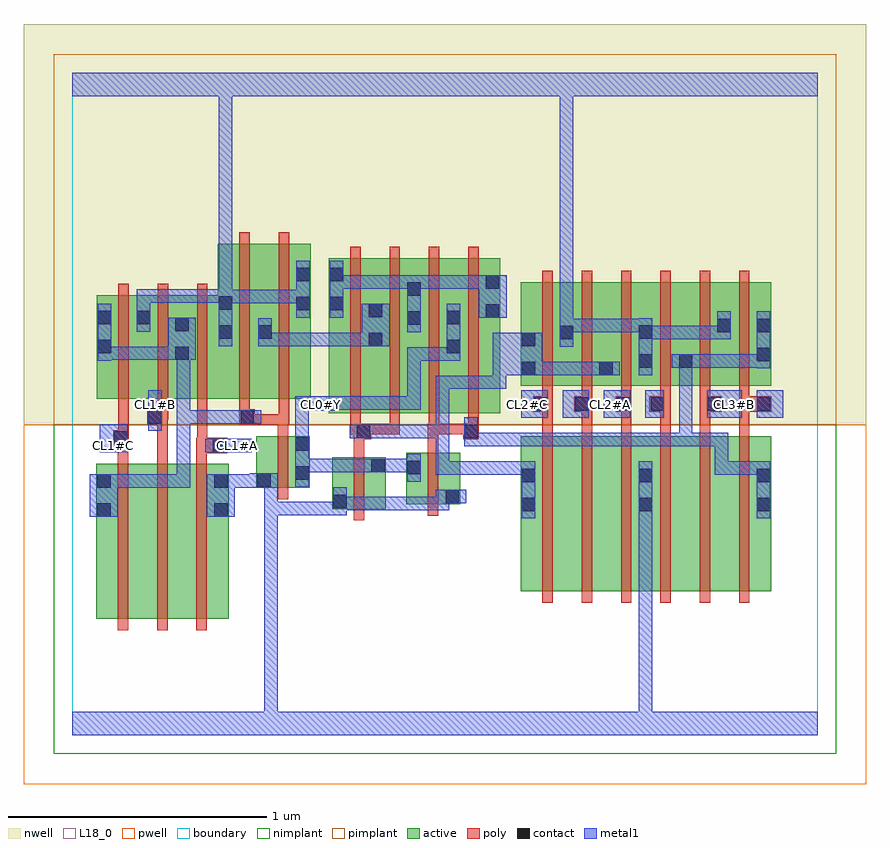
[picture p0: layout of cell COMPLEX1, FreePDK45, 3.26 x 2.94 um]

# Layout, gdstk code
import gdstk
lib = gdstk.Library(unit=1e-6, precision=1e-09)
def R(c, l, rs):  # rectangles x0, y0, x1, y1
    for r in rs: c.add(gdstk.rectangle(r[:2], r[2:], *l))
def A(c, l, x, y, w, h, nx, ny, dx, dy):  # array of equal rectangles
    R(c, l, [(x+i*dx, y+j*dy, x+i*dx+w, y+j*dy+h) for i in range(nx) for j in range(ny)])
active = (1, 0)
pwell = (2, 0)
nwell = (3, 0)
nimplant = (4, 0)
pimplant = (5, 0)
poly = (9, 0)
contact = (10, 0)
metal1 = (11, 0)
L18_0 = (18, 0)
boundary = (235, 0)

complex1 = lib.new_cell('COMPLEX1')
A(complex1, active, 1.29, 1.244, 0.06, 0.6, 3, 1, 0.152, 0)
A(complex1, active, 1.88, 1.35, 0.06, 0.294, 3, 1, 0.152, 0)
R(complex1, active, [(0.092,0.45,0.272,1.05), (0.272,0.45,0.424,1.05), (0.424,0.45,0.604,1.05), (0.092,0.556,0.152,1.05), (0.544,0.556,0.604,1.05), (1.732,0.556,1.792,1.156), (1.732,0.556,1.912,1.156), (1.912,0.556,2.064,1.156), (2.064,0.556,2.244,1.156), (2.184,0.556,2.368,1.156), (2.184,0.556,2.244,1.034), (2.368,0.556,2.52,1.156), (2.52,0.556,2.7,1.156), (2.64,0.556,2.7,1.156), (1.004,0.874,1.064,1.074), (1.004,0.874,1.212,1.074), (1.29,0.892,1.35,1.092), (1.29,0.892,1.498,1.092), (1.438,0.892,1.498,1.092), (1.152,0.896,1.212,1.074), (0.71,0.956,0.77,1.156), (0.71,0.956,0.918,1.156), (0.858,0.956,0.918,1.156), (0.99,1.244,1.05,1.844), (0.99,1.244,1.202,1.844), (1.142,1.244,1.202,1.844), (1.142,1.244,1.35,1.844), (1.29,1.244,1.502,1.844), (1.442,1.244,1.654,1.844), (0.094,1.3,0.306,1.7), (0.094,1.3,0.154,1.7), (0.246,1.3,0.454,1.7), (0.394,1.3,0.622,1.7), (0.394,1.3,0.454,1.7), (0.562,1.3,0.774,1.9), (0.714,1.3,0.922,1.9), (0.862,1.3,0.922,1.9), (0.246,1.31,0.306,1.7), (0.562,1.338,0.622,1.9), (0.714,1.338,0.774,1.9), (1.732,1.35,1.792,1.644), (1.732,1.35,1.94,1.75), (1.88,1.35,2.092,1.75), (2.032,1.35,2.244,1.75), (2.184,1.35,2.4,1.75), (2.34,1.35,2.4,1.644), (2.34,1.35,2.548,1.75), (2.488,1.35,2.548,1.644), (2.488,1.35,2.7,1.75), (2.64,1.35,2.7,1.644)])
R(complex1, pwell, [(-0.188,-0.188,3.068,1.2)])
R(complex1, nwell, [(-0.188,1.2,3.068,2.748)])
R(complex1, nimplant, [(-0.072,-0.072,2.952,1.2)])
R(complex1, pimplant, [(-0.072,1.2,2.952,2.632)])
A(complex1, poly, 0.176, 0.406, 0.04, 0.688, 3, 1, 0.152, 0)
A(complex1, poly, 1.816, 0.512, 0.04, 0.688, 6, 1, 0.152, 0)
A(complex1, poly, 1.816, 1.16, 0.04, 0.13, 6, 1, 0.152, 0)
A(complex1, poly, 1.074, 1.164, 0.04, 0.076, 4, 1, 0.152, 0)
A(complex1, poly, 1.074, 1.2, 0.04, 0.688, 4, 1, 0.152, 0)
A(complex1, poly, 0.178, 1.256, 0.04, 0.488, 3, 1, 0.152, 0)
A(complex1, poly, 1.816, 1.27, 0.04, 0.076, 6, 1, 0.152, 0)
A(complex1, poly, 1.816, 1.306, 0.04, 0.488, 6, 1, 0.152, 0)
R(complex1, poly, [(1.088,0.83,1.128,1.118), (1.374,0.848,1.414,1.136), (0.794,0.912,0.834,1.2), (0.176,1.054,0.216,1.158), (0.328,1.054,0.368,1.24), (0.48,1.054,0.52,1.13), (1.088,1.078,1.128,1.184), (0.48,1.09,0.598,1.15), (1.374,1.096,1.414,1.204), (0.482,1.11,0.522,1.15), (0.482,1.11,0.522,1.15), (0.482,1.11,0.522,1.296), (0.158,1.118,0.218,1.178), (0.178,1.138,0.218,1.178), (0.178,1.138,0.218,1.178), (0.178,1.138,0.218,1.296), (1.088,1.144,1.156,1.204), (1.51,1.144,1.57,1.204), (0.794,1.16,0.834,1.24), (1.074,1.164,1.128,1.204), (1.088,1.164,1.128,1.204), (1.088,1.164,1.128,1.204), (1.088,1.164,1.128,1.204), (1.088,1.164,1.266,1.204), (1.226,1.164,1.266,1.204), (1.374,1.164,1.414,1.204), (1.374,1.164,1.414,1.204), (1.374,1.164,1.418,1.204), (1.378,1.164,1.418,1.204), (1.378,1.164,1.418,1.204), (1.378,1.164,1.57,1.204), (1.53,1.164,1.57,1.204), (1.53,1.164,1.57,1.204), (0.29,1.2,0.368,1.26), (0.646,1.2,0.706,1.26), (0.666,1.2,0.834,1.24), (0.794,1.2,0.834,1.24), (0.794,1.2,0.834,1.24), (0.794,1.2,0.834,1.24), (0.794,1.2,0.834,1.24), (0.794,1.2,0.838,1.24), (0.798,1.2,0.838,1.296), (0.328,1.22,0.368,1.26), (0.328,1.22,0.37,1.26), (0.33,1.22,0.37,1.296), (0.646,1.22,0.686,1.296), (1.78,1.25,1.856,1.31), (1.816,1.25,1.856,1.29), (1.816,1.25,1.856,1.29), (1.94,1.25,2.008,1.31), (1.968,1.25,2.008,1.29), (1.968,1.25,2.008,1.29), (2.1,1.25,2.16,1.31), (2.12,1.25,2.16,1.29), (2.12,1.25,2.16,1.29), (2.23,1.25,2.312,1.31), (2.272,1.25,2.312,1.29), (2.272,1.25,2.312,1.29), (2.424,1.25,2.464,1.29), (2.424,1.25,2.464,1.29), (2.424,1.25,2.51,1.31), (2.576,1.25,2.616,1.29), (2.576,1.25,2.616,1.29), (2.576,1.25,2.7,1.31), (0.646,1.256,0.686,1.944), (0.798,1.256,0.838,1.944)])
A(complex1, contact, 1.784, 1.254, 0.052, 0.052, 3, 1, 0.16, 0)
R(complex1, contact, [(0.096,0.844,0.148,0.896), (0.548,0.844,0.6,0.896), (1.736,0.866,1.788,0.918), (2.188,0.866,2.24,0.918), (2.644,0.866,2.696,0.918), (1.008,0.878,1.06,0.93), (1.442,0.896,1.494,0.948), (0.096,0.956,0.148,1.008), (0.548,0.956,0.6,1.008), (0.714,0.96,0.766,1.012), (1.736,0.978,1.788,1.03), (2.188,0.978,2.24,1.03), (2.644,0.978,2.696,1.03), (0.862,0.988,0.914,1.04), (1.294,1.008,1.346,1.06), (1.156,1.016,1.208,1.068), (0.542,1.094,0.594,1.146), (0.862,1.1,0.914,1.152), (0.162,1.122,0.214,1.174), (1.1,1.148,1.152,1.2), (1.514,1.148,1.566,1.2), (0.294,1.204,0.346,1.256), (0.65,1.204,0.702,1.256), (2.234,1.254,2.286,1.306), (2.454,1.254,2.506,1.306), (2.644,1.254,2.696,1.306), (1.736,1.392,1.788,1.444), (2.036,1.392,2.088,1.444), (2.188,1.42,2.24,1.472), (2.344,1.42,2.396,1.472), (2.644,1.446,2.696,1.498), (0.398,1.45,0.45,1.502), (0.098,1.476,0.15,1.528), (1.446,1.476,1.498,1.528), (1.146,1.504,1.198,1.556), (1.736,1.504,1.788,1.556), (1.884,1.53,1.936,1.582), (0.566,1.532,0.618,1.584), (0.718,1.532,0.77,1.584), (2.188,1.532,2.24,1.584), (2.492,1.558,2.544,1.61), (2.644,1.558,2.696,1.61), (0.398,1.562,0.45,1.614), (1.294,1.586,1.346,1.638), (0.098,1.588,0.15,1.64), (0.25,1.588,0.302,1.64), (1.446,1.588,1.498,1.64), (1.598,1.614,1.65,1.666), (1.146,1.616,1.198,1.668), (0.866,1.642,0.918,1.694), (0.994,1.642,1.046,1.694), (0.566,1.644,0.618,1.696), (1.294,1.698,1.346,1.75), (1.598,1.726,1.65,1.778), (0.866,1.754,0.918,1.806), (0.994,1.754,1.046,1.806)])
A(complex1, metal1, 1.734, 1.226, 0.102, 0.108, 3, 1, 0.16, 0)
A(complex1, metal1, 1.404, 1.338, 0.052, 0.052, 3, 1, 0.11, 0)
A(complex1, metal1, 1.184, 1.726, 0.162, 0.052, 3, 1, 0.11, 0)
R(complex1, metal1, [(0,0,2.88,0.092), (0.742,0.04,0.794,0.092), (0.742,0.04,0.794,0.092), (0.742,0.04,0.794,0.092), (0.742,0.04,0.794,0.092), (0.742,0.04,0.794,0.092), (0.742,0.04,0.794,0.092), (0.742,0.04,0.794,0.092), (0.742,0.04,0.794,0.092), (0.742,0.04,0.794,0.092), (0.742,0.04,0.794,0.092), (0.742,0.04,0.794,0.092), (0.742,0.04,0.794,0.092), (0.742,0.04,0.794,0.092), (0.742,0.04,0.794,0.092), (0.742,0.04,0.794,0.092), (0.742,0.04,0.794,0.092), (0.742,0.04,0.794,0.902), (2.188,0.04,2.24,0.092), (2.188,0.04,2.24,0.092), (2.188,0.04,2.24,0.092), (2.188,0.04,2.24,0.092), (2.188,0.04,2.24,0.092), (2.188,0.04,2.24,0.092), (2.188,0.04,2.24,0.092), (2.188,0.04,2.24,0.092), (2.188,0.04,2.24,0.89), (1.736,0.838,1.788,1.058), (2.188,0.838,2.24,1.058), (2.644,0.838,2.696,1.058), (0.068,0.844,0.176,1.008), (0.52,0.844,0.628,1.008), (0.742,0.85,0.794,0.902), (0.742,0.85,0.904,0.902), (0.742,0.85,0.794,1.012), (0.852,0.85,0.904,0.902), (0.852,0.85,0.904,0.902), (0.852,0.85,0.904,0.902), (0.852,0.85,1.06,0.902), (1.008,0.85,1.06,0.958), (1.008,0.87,1.17,0.922), (1.118,0.87,1.17,0.922), (1.118,0.87,1.17,0.922), (1.118,0.87,1.17,0.922), (1.118,0.87,1.346,0.922), (1.294,0.87,1.346,0.922), (1.294,0.87,1.346,0.922), (1.294,0.87,1.346,0.922), (1.294,0.87,1.456,0.922), (1.404,0.87,1.456,0.948), (1.404,0.896,1.466,0.948), (1.414,0.896,1.522,0.948), (0.124,0.956,0.176,1.008), (0.124,0.956,0.176,1.008), (0.124,0.956,0.286,1.008), (0.234,0.956,0.286,1.008), (0.234,0.956,0.286,1.008), (0.234,0.956,0.286,1.008), (0.234,0.956,0.456,1.008), (0.404,0.956,0.456,1.008), (0.404,0.956,0.456,1.256), (0.576,0.956,0.738,1.008), (0.686,0.956,0.738,1.012), (0.686,0.96,0.738,1.012), (0.686,0.96,0.794,1.012), (0.862,0.96,0.914,1.18), (1.294,0.98,1.346,1.088), (1.404,1.006,1.456,1.058), (1.404,1.006,1.566,1.058), (1.404,1.006,1.456,1.2), (1.514,1.006,1.566,1.058), (1.514,1.006,1.566,1.058), (1.514,1.006,1.566,1.058), (1.514,1.006,1.788,1.058), (2.482,1.006,2.534,1.058), (2.482,1.006,2.696,1.058), (2.482,1.006,2.534,1.168), (2.644,1.006,2.696,1.058), (2.644,1.006,2.696,1.058), (0.862,1.016,1.014,1.068), (0.962,1.016,1.014,1.068), (0.962,1.016,1.18,1.068), (1.128,1.016,1.18,1.068), (1.128,1.016,1.18,1.068), (1.128,1.016,1.236,1.068), (1.184,1.016,1.346,1.068), (1.294,1.016,1.346,1.068), (1.294,1.016,1.346,1.068), (0.106,1.094,0.214,1.202), (0.514,1.094,0.694,1.146), (1.514,1.116,1.816,1.168), (1.514,1.116,1.566,1.172), (1.764,1.116,1.816,1.168), (1.764,1.116,1.816,1.168), (1.764,1.116,1.816,1.168), (1.764,1.116,1.926,1.168), (1.874,1.116,1.926,1.168), (1.874,1.116,1.926,1.168), (1.874,1.116,1.926,1.168), (1.874,1.116,2.046,1.168), (1.994,1.116,2.046,1.168), (1.994,1.116,2.156,1.168), (2.104,1.116,2.156,1.168), (2.104,1.116,2.156,1.168), (2.104,1.116,2.156,1.168), (2.104,1.116,2.396,1.168), (2.344,1.116,2.396,1.168), (2.344,1.116,2.396,1.168), (2.344,1.116,2.396,1.168), (2.344,1.116,2.534,1.168), (2.344,1.116,2.396,1.472), (2.482,1.116,2.534,1.168), (2.482,1.116,2.534,1.168), (2.482,1.116,2.534,1.168), (1.514,1.12,1.566,1.172), (1.514,1.12,1.566,1.228), (0.862,1.128,0.914,1.306), (1.072,1.148,1.18,1.2), (1.128,1.148,1.18,1.2), (1.128,1.148,1.18,1.2), (1.128,1.148,1.346,1.2), (1.294,1.148,1.346,1.2), (1.294,1.148,1.346,1.2), (1.294,1.148,1.346,1.2), (1.294,1.148,1.456,1.2), (1.404,1.148,1.456,1.2), (1.404,1.148,1.456,1.2), (1.404,1.148,1.456,1.2), (1.404,1.148,1.456,1.39), (0.294,1.176,0.346,1.334), (0.404,1.204,0.456,1.256), (0.404,1.204,0.456,1.256), (0.404,1.204,0.456,1.256), (0.404,1.204,0.564,1.256), (0.404,1.204,0.456,1.502), (0.512,1.204,0.564,1.256), (0.512,1.204,0.578,1.256), (0.526,1.204,0.578,1.256), (0.526,1.204,0.674,1.256), (0.622,1.204,0.73,1.256), (2.214,1.226,2.286,1.334), (2.454,1.226,2.586,1.334), (2.644,1.226,2.746,1.334), (0.862,1.254,1.014,1.31), (0.962,1.258,1.014,1.31), (0.962,1.258,1.014,1.31), (0.962,1.258,1.014,1.31), (0.962,1.258,1.014,1.31), (0.962,1.258,1.17,1.31), (1.118,1.258,1.17,1.31), (1.118,1.258,1.17,1.31), (1.118,1.258,1.17,1.31), (1.118,1.258,1.346,1.31), (1.294,1.258,1.346,1.31), (1.294,1.258,1.346,1.31), (1.294,1.258,1.346,1.31), (1.294,1.258,1.346,1.5), (1.404,1.338,1.566,1.39), (1.514,1.338,1.676,1.39), (1.624,1.338,1.676,1.39), (1.624,1.338,1.676,1.39), (1.624,1.338,1.676,1.444), (1.624,1.392,1.816,1.556), (1.764,1.392,1.816,1.444), (1.764,1.392,1.816,1.444), (1.764,1.392,1.926,1.444), (1.874,1.392,1.926,1.444), (1.874,1.392,1.926,1.444), (1.874,1.392,1.926,1.444), (1.874,1.392,2.06,1.444), (2.008,1.392,2.116,1.444), (2.188,1.392,2.24,1.612), (2.644,1.418,2.696,1.638), (2.316,1.42,2.424,1.472), (2.344,1.42,2.396,1.472), (2.344,1.42,2.396,1.472), (2.372,1.42,2.586,1.472), (2.534,1.42,2.586,1.472), (2.534,1.42,2.586,1.472), (2.534,1.42,2.586,1.472), (2.534,1.42,2.696,1.472), (2.644,1.42,2.696,1.472), (2.644,1.42,2.696,1.472), (0.098,1.448,0.15,1.668), (1.294,1.448,1.346,1.5), (1.294,1.448,1.456,1.5), (1.404,1.448,1.456,1.5), (1.404,1.448,1.498,1.5), (1.446,1.448,1.498,1.668), (0.098,1.45,0.15,1.502), (0.098,1.45,0.15,1.502), (0.098,1.45,0.312,1.502), (0.26,1.45,0.312,1.502), (0.26,1.45,0.312,1.502), (0.26,1.45,0.312,1.502), (0.26,1.45,0.422,1.502), (0.37,1.45,0.478,1.614), (1.884,1.502,1.936,1.61), (0.566,1.504,0.618,1.724), (0.718,1.504,0.77,1.612), (0.718,1.504,0.848,1.556), (0.796,1.504,0.848,1.556), (0.796,1.504,1.014,1.556), (0.962,1.504,1.014,1.556), (0.962,1.504,1.014,1.556), (0.962,1.504,1.014,1.556), (0.962,1.504,1.17,1.556), (1.118,1.504,1.17,1.556), (1.118,1.504,1.17,1.556), (1.118,1.504,1.226,1.668), (2.188,1.53,2.35,1.582), (2.298,1.53,2.35,1.582), (2.298,1.53,2.35,1.582), (2.298,1.53,2.35,1.582), (2.298,1.53,2.544,1.582), (2.492,1.53,2.544,1.582), (2.492,1.53,2.544,1.582), (2.492,1.53,2.544,1.638), (1.294,1.558,1.346,1.778), (1.884,1.558,1.936,1.61), (1.884,1.558,1.936,1.61), (1.884,1.558,2.046,1.61), (1.884,1.558,1.936,2.52), (1.994,1.558,2.046,1.61), (1.994,1.558,2.046,1.61), (1.994,1.558,2.046,1.61), (1.994,1.558,2.24,1.61), (0.25,1.56,0.302,1.668), (0.866,1.614,0.918,1.834), (0.994,1.614,1.046,1.834), (1.57,1.614,1.678,1.778), (0.25,1.616,0.302,1.668), (0.25,1.616,0.302,1.668), (0.25,1.616,0.302,1.724), (0.566,1.67,0.738,1.722), (0.686,1.67,0.738,1.722), (0.686,1.67,0.738,1.722), (0.686,1.67,0.738,1.722), (0.686,1.67,0.904,1.722), (0.852,1.67,0.904,1.722), (0.852,1.67,0.918,1.722), (0.25,1.672,0.302,1.724), (0.25,1.672,0.302,1.724), (0.25,1.672,0.302,1.724), (0.25,1.672,0.456,1.724), (0.404,1.672,0.456,1.724), (0.404,1.672,0.456,1.724), (0.404,1.672,0.456,1.724), (0.404,1.672,0.618,1.724), (0.566,1.672,0.618,2.52), (0.994,1.726,1.236,1.778), (1.184,1.726,1.236,1.778), (1.184,1.726,1.236,1.778), (1.184,1.726,1.236,1.778), (1.294,1.726,1.346,1.778), (1.294,1.726,1.346,1.778), (1.404,1.726,1.456,1.778), (1.404,1.726,1.456,1.778), (1.404,1.726,1.456,1.778), (1.514,1.726,1.566,1.778), (1.514,1.726,1.622,1.778), (0,2.468,2.88,2.56), (0.566,2.468,0.618,2.52), (0.566,2.468,0.618,2.52), (0.566,2.468,0.618,2.52), (0.566,2.468,0.618,2.52), (0.566,2.468,0.618,2.52), (0.566,2.468,0.618,2.52), (0.566,2.468,0.618,2.52), (0.566,2.468,0.618,2.52), (0.566,2.468,0.618,2.52), (0.566,2.468,0.618,2.52), (0.566,2.468,0.618,2.52), (0.566,2.468,0.618,2.52), (1.884,2.468,1.936,2.52), (1.884,2.468,1.936,2.52), (1.884,2.468,1.936,2.52), (1.884,2.468,1.936,2.52), (1.884,2.468,1.936,2.52), (1.884,2.468,1.936,2.52), (1.884,2.468,1.936,2.52), (1.884,2.468,1.936,2.52), (1.884,2.468,1.936,2.52), (1.884,2.468,1.936,2.52), (1.884,2.468,1.936,2.52), (1.884,2.468,1.936,2.52), (1.884,2.468,1.936,2.52), (1.884,2.468,1.936,2.52), (1.884,2.468,1.936,2.52), (1.884,2.468,1.936,2.52)])
A(complex1, L18_0, 1.734, 1.226, 0.102, 0.108, 3, 1, 0.16, 0)
A(complex1, L18_0, 1.734, 1.254, 0.052, 0.052, 4, 1, 0.16, 0)
R(complex1, L18_0, [(0,0,2.88,0.092), (0.742,0.04,0.794,0.092), (0.742,0.04,0.794,0.092), (0.742,0.04,0.794,0.092), (0.742,0.04,0.794,0.092), (0.742,0.04,0.794,0.092), (0.742,0.04,0.794,0.092), (0.742,0.04,0.794,0.092), (0.742,0.04,0.794,0.092), (0.742,0.04,0.794,0.092), (0.742,0.04,0.794,0.092), (0.742,0.04,0.794,0.092), (0.742,0.04,0.794,0.092), (0.742,0.04,0.794,0.092), (0.742,0.04,0.794,0.092), (0.742,0.04,0.794,0.092), (0.742,0.04,0.794,0.092), (0.742,0.04,0.794,0.902), (2.188,0.04,2.24,0.092), (2.188,0.04,2.24,0.092), (2.188,0.04,2.24,0.092), (2.188,0.04,2.24,0.092), (2.188,0.04,2.24,0.092), (2.188,0.04,2.24,0.092), (2.188,0.04,2.24,0.092), (2.188,0.04,2.24,0.092), (2.188,0.04,2.24,0.89), (2.188,0.838,2.24,1.058), (0.52,0.844,0.628,1.008), (0.742,0.85,0.794,0.902), (0.742,0.85,0.904,0.902), (0.742,0.85,0.794,1.012), (0.852,0.85,0.904,0.902), (0.852,0.85,0.904,0.902), (0.852,0.85,0.904,0.902), (0.852,0.85,1.06,0.902), (1.008,0.85,1.06,0.958), (1.008,0.87,1.17,0.922), (1.118,0.87,1.17,0.922), (1.118,0.87,1.17,0.922), (1.118,0.87,1.17,0.922), (1.118,0.87,1.346,0.922), (1.294,0.87,1.346,0.922), (1.294,0.87,1.346,0.922), (1.294,0.87,1.346,0.922), (1.294,0.87,1.456,0.922), (1.404,0.87,1.456,0.948), (1.404,0.896,1.466,0.948), (1.414,0.896,1.522,0.948), (0.576,0.956,0.738,1.008), (0.686,0.956,0.738,1.012), (0.686,0.96,0.738,1.012), (0.686,0.96,0.794,1.012), (0.862,0.96,0.914,1.18), (1.294,0.98,1.346,1.088), (0.862,1.016,1.014,1.068), (0.962,1.016,1.014,1.068), (0.962,1.016,1.18,1.068), (1.128,1.016,1.18,1.068), (1.128,1.016,1.18,1.068), (1.128,1.016,1.236,1.068), (1.184,1.016,1.346,1.068), (1.294,1.016,1.346,1.068), (1.294,1.016,1.346,1.068), (0.106,1.094,0.214,1.202), (0.134,1.094,0.186,1.146), (0.514,1.094,0.694,1.146), (0.614,1.094,0.666,1.146), (0.862,1.128,0.914,1.306), (0.294,1.176,0.346,1.334), (2.214,1.226,2.286,1.334), (2.454,1.226,2.586,1.334), (2.644,1.226,2.746,1.334), (0.294,1.254,0.346,1.306), (0.862,1.254,1.014,1.31), (0.934,1.254,0.986,1.306), (2.534,1.254,2.586,1.306), (2.694,1.254,2.746,1.306), (0.962,1.258,1.014,1.31), (0.962,1.258,1.014,1.31), (0.962,1.258,1.014,1.31), (0.962,1.258,1.014,1.31), (0.962,1.258,1.17,1.31), (1.118,1.258,1.17,1.31), (1.118,1.258,1.17,1.31), (1.118,1.258,1.17,1.31), (1.118,1.258,1.346,1.31), (1.294,1.258,1.346,1.31), (1.294,1.258,1.346,1.31), (1.294,1.258,1.346,1.31), (1.294,1.258,1.346,1.5), (2.188,1.392,2.24,1.612), (1.294,1.448,1.346,1.5), (1.294,1.448,1.456,1.5), (1.404,1.448,1.456,1.5), (1.404,1.448,1.498,1.5), (1.446,1.448,1.498,1.668), (1.884,1.502,1.936,1.61), (0.566,1.504,0.618,1.724), (2.188,1.53,2.35,1.582), (2.298,1.53,2.35,1.582), (2.298,1.53,2.35,1.582), (2.298,1.53,2.35,1.582), (2.298,1.53,2.544,1.582), (2.492,1.53,2.544,1.638), (2.492,1.53,2.544,1.582), (2.492,1.53,2.544,1.582), (1.884,1.558,1.936,1.61), (1.884,1.558,1.936,1.61), (1.884,1.558,2.046,1.61), (1.884,1.558,1.936,2.52), (1.994,1.558,2.046,1.61), (1.994,1.558,2.046,1.61), (1.994,1.558,2.046,1.61), (1.994,1.558,2.24,1.61), (0.25,1.56,0.302,1.668), (0.866,1.614,0.918,1.834), (0.25,1.616,0.302,1.724), (0.25,1.616,0.302,1.668), (0.25,1.616,0.302,1.668), (0.566,1.67,0.738,1.722), (0.686,1.67,0.738,1.722), (0.686,1.67,0.738,1.722), (0.686,1.67,0.738,1.722), (0.686,1.67,0.904,1.722), (0.852,1.67,0.904,1.722), (0.852,1.67,0.918,1.722), (0.25,1.672,0.302,1.724), (0.25,1.672,0.302,1.724), (0.25,1.672,0.302,1.724), (0.25,1.672,0.456,1.724), (0.404,1.672,0.456,1.724), (0.404,1.672,0.456,1.724), (0.404,1.672,0.456,1.724), (0.404,1.672,0.618,1.724), (0.566,1.672,0.618,2.52), (0,2.468,2.88,2.56), (0.566,2.468,0.618,2.52), (0.566,2.468,0.618,2.52), (0.566,2.468,0.618,2.52), (0.566,2.468,0.618,2.52), (0.566,2.468,0.618,2.52), (0.566,2.468,0.618,2.52), (0.566,2.468,0.618,2.52), (0.566,2.468,0.618,2.52), (0.566,2.468,0.618,2.52), (0.566,2.468,0.618,2.52), (0.566,2.468,0.618,2.52), (0.566,2.468,0.618,2.52), (1.884,2.468,1.936,2.52), (1.884,2.468,1.936,2.52), (1.884,2.468,1.936,2.52), (1.884,2.468,1.936,2.52), (1.884,2.468,1.936,2.52), (1.884,2.468,1.936,2.52), (1.884,2.468,1.936,2.52), (1.884,2.468,1.936,2.52), (1.884,2.468,1.936,2.52), (1.884,2.468,1.936,2.52), (1.884,2.468,1.936,2.52), (1.884,2.468,1.936,2.52), (1.884,2.468,1.936,2.52), (1.884,2.468,1.936,2.52), (1.884,2.468,1.936,2.52), (1.884,2.468,1.936,2.52)])
R(complex1, boundary, [(0,0,2.88,2.56)])
complex1.add(gdstk.Label('CL0#Y', (0.96,1.28), layer=11, texttype=0))
complex1.add(gdstk.Label('CL1#A', (0.64,1.12), layer=11, texttype=0))
complex1.add(gdstk.Label('CL1#B', (0.32,1.28), layer=11, texttype=0))
complex1.add(gdstk.Label('CL1#C', (0.16,1.12), layer=11, texttype=0))
complex1.add(gdstk.Label('CL2#A', (2.08,1.28), layer=11, texttype=0))
complex1.add(gdstk.Label('CL2#B', (1.92,1.28), layer=11, texttype=0))
complex1.add(gdstk.Label('CL2#C', (1.76,1.28), layer=11, texttype=0))
complex1.add(gdstk.Label('CL3#A', (2.24,1.28), layer=11, texttype=0))
complex1.add(gdstk.Label('CL3#B', (2.56,1.28), layer=11, texttype=0))
complex1.add(gdstk.Label('CL3#C', (2.72,1.28), layer=11, texttype=0))

lib.write_gds('COMPLEX1.gds')
